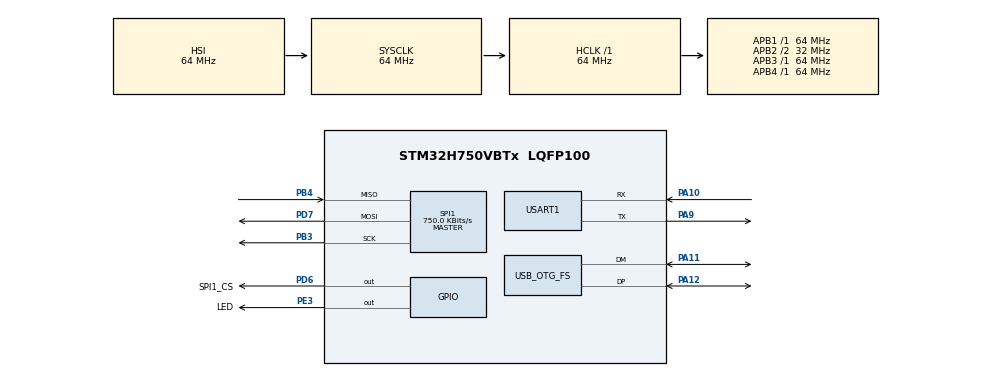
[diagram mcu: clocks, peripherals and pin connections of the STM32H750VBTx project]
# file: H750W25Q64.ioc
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CORTEX_M7.AccessPermission-Cortex_Memory_Protection_Unit_Region0_Settings=MPU_REGION_FULL_ACCESS
CORTEX_M7.BaseAddress-Cortex_Memory_Protection_Unit_Region0_Settings=0x24000000
CORTEX_M7.CPU_DCache=Enabled
CORTEX_M7.CPU_ICache=Enabled
CORTEX_M7.Enable-Cortex_Memory_Protection_Unit_Region0_Settings=MPU_REGION_ENABLE
CORTEX_M7.IsBufferable-Cortex_Memory_Protection_Unit_Region0_Settings=MPU_ACCESS_BUFFERABLE
CORTEX_M7.IsCacheable-Cortex_Memory_Protection_Unit_Region0_Settings=MPU_ACCESS_CACHEABLE
CORTEX_M7.MPU_Control=MPU_PRIVILEGED_DEFAULT
CORTEX_M7.Size-Cortex_Memory_Protection_Unit_Region0_Settings=MPU_REGION_SIZE_512KB
CORTEX_M7.TypeExtField-Cortex_Memory_Protection_Unit_Region0_Settings=MPU_TEX_LEVEL1
Dma.Request0=USART1_RX
Dma.Request1=USART1_TX
Dma.USART1_RX.0.Direction=DMA_PERIPH_TO_MEMORY
Dma.USART1_RX.0.EventEnable=DISABLE
Dma.USART1_RX.0.FIFOMode=DMA_FIFOMODE_DISABLE
Dma.USART1_RX.0.Instance=DMA1_Stream0
Dma.USART1_RX.0.MemDataAlignment=DMA_MDATAALIGN_BYTE
Dma.USART1_RX.0.MemInc=DMA_MINC_ENABLE
Dma.USART1_RX.0.Mode=DMA_NORMAL
Dma.USART1_RX.0.PeriphDataAlignment=DMA_PDATAALIGN_BYTE
Dma.USART1_RX.0.PeriphInc=DMA_PINC_DISABLE
Dma.USART1_RX.0.Polarity=HAL_DMAMUX_REQ_GEN_RISING
Dma.USART1_RX.0.Priority=DMA_PRIORITY_LOW
Dma.USART1_RX.0.RequestNumber=1
Dma.USART1_RX.0.SignalID=NONE
Dma.USART1_RX.0.SyncEnable=DISABLE
Dma.USART1_RX.0.SyncPolarity=HAL_DMAMUX_SYNC_NO_EVENT
Dma.USART1_RX.0.SyncRequestNumber=1
Dma.USART1_RX.0.SyncSignalID=NONE
Dma.USART1_TX.1.Direction=DMA_MEMORY_TO_PERIPH
Dma.USART1_TX.1.EventEnable=DISABLE
Dma.USART1_TX.1.FIFOMode=DMA_FIFOMODE_DISABLE
Dma.USART1_TX.1.Instance=DMA1_Stream1
Dma.USART1_TX.1.MemDataAlignment=DMA_MDATAALIGN_BYTE
Dma.USART1_TX.1.MemInc=DMA_MINC_ENABLE
Dma.USART1_TX.1.Mode=DMA_NORMAL
Dma.USART1_TX.1.PeriphDataAlignment=DMA_PDATAALIGN_BYTE
Dma.USART1_TX.1.PeriphInc=DMA_PINC_DISABLE
Dma.USART1_TX.1.Polarity=HAL_DMAMUX_REQ_GEN_RISING
Dma.USART1_TX.1.Priority=DMA_PRIORITY_LOW
Dma.USART1_TX.1.RequestNumber=1
Dma.USART1_TX.1.SignalID=NONE
Dma.USART1_TX.1.SyncEnable=DISABLE
Dma.USART1_TX.1.SyncPolarity=HAL_DMAMUX_SYNC_NO_EVENT
Dma.USART1_TX.1.SyncRequestNumber=1
Dma.USART1_TX.1.SyncSignalID=NONE
FREERTOS.Tasks01=defaultTask,0,128,StartDefaultTask,Default,NULL,Dynamic,NULL,NULL
Mcu.Family=STM32H7
Mcu.Name=STM32H750VBTx
Mcu.Package=LQFP100
NVIC.DMA1_Stream0_IRQn=true\:5\:0\:false\:false\:true\:true\:false\:true\:true
NVIC.DMA1_Stream1_IRQn=true\:5\:0\:false\:false\:true\:true\:false\:true\:true
NVIC.OTG_FS_IRQn=true\:5\:0\:false\:false\:true\:true\:false\:true\:true
NVIC.PriorityGroup=NVIC_PRIORITYGROUP_4
NVIC.TIM4_IRQn=true\:0\:0\:false\:false\:true\:false\:false\:true\:true
NVIC.TimeBase=TIM4_IRQn
NVIC.TimeBaseIP=TIM4
NVIC.USART1_IRQn=true\:5\:0\:false\:false\:true\:true\:true\:true\:true
PA10.GPIO_Speed=GPIO_SPEED_FREQ_VERY_HIGH
PA10.Mode=Asynchronous
PA10.Signal=USART1_RX
PA11.GPIO_Speed=GPIO_SPEED_FREQ_VERY_HIGH
PA11.Mode=Device_Only
PA11.Signal=USB_OTG_FS_DM
PA12.GPIO_Speed=GPIO_SPEED_FREQ_VERY_HIGH
PA12.Mode=Device_Only
PA12.Signal=USB_OTG_FS_DP
PA13\ (JTMS/SWDIO).Mode=Serial_Wire
PA13\ (JTMS/SWDIO).Signal=DEBUG_JTMS-SWDIO
PA14\ (JTCK/SWCLK).Mode=Serial_Wire
PA14\ (JTCK/SWCLK).Signal=DEBUG_JTCK-SWCLK
PA9.GPIO_Speed=GPIO_SPEED_FREQ_VERY_HIGH
PA9.Mode=Asynchronous
PA9.Signal=USART1_TX
PB3\ (JTDO/TRACESWO).Mode=Full_Duplex_Master
PB3\ (JTDO/TRACESWO).Signal=SPI1_SCK
PB4\ (NJTRST).Mode=Full_Duplex_Master
PB4\ (NJTRST).Signal=SPI1_MISO
PD6.GPIO_Label=SPI1_CS
PD6.GPIO_PuPd=GPIO_PULLDOWN
PD6.Signal=GPIO_Output
PD7.Mode=Full_Duplex_Master
PD7.Signal=SPI1_MOSI
PE3.GPIO_Label=LED
PE3.Signal=GPIO_Output
PH0-OSC_IN\ (PH0).Mode=HSE-External-Oscillator
PH0-OSC_IN\ (PH0).Signal=RCC_OSC_IN
PH1-OSC_OUT\ (PH1).Mode=HSE-External-Oscillator
PH1-OSC_OUT\ (PH1).Signal=RCC_OSC_OUT
ProjectManager.HeapSize=0x200
ProjectManager.StackSize=0x400
ProjectManager.TargetToolchain=MDK-ARM V5.27
RCC.ADCFreq_Value=50390625
RCC.APB1Freq_Value=64000000
RCC.APB2Freq_Value=32000000
RCC.APB3Freq_Value=64000000
RCC.APB4Freq_Value=64000000
RCC.CortexFreq_Value=64000000
RCC.D2PPRE2=RCC_APB2_DIV2
RCC.DIVM1=5
RCC.DIVN1=48
RCC.DIVQ1=5
RCC.HCLKFreq_Value=64000000
RCC.PLLFRACN=0
RCC.SYSCLKFreq_VALUE=64000000
RCC.USBFreq_Value=48000000
SPI1.BaudRatePrescaler=SPI_BAUDRATEPRESCALER_64
SPI1.CalculateBaudRate=750.0 KBits/s
SPI1.DataSize=SPI_DATASIZE_8BIT
SPI1.Direction=SPI_DIRECTION_2LINES
SPI1.Mode=SPI_MODE_MASTER
SPI1.VirtualType=VM_MASTER
USART1.VirtualMode-Asynchronous=VM_ASYNC
USB_DEVICE.CLASS_NAME_FS=CDC
USB_DEVICE.VirtualMode-CDC_FS=Cdc
USB_DEVICE.VirtualModeFS=Cdc_FS
USB_OTG_FS.VirtualMode=Device_Only
VP_FATFS_VS_Generic.Mode=User_defined
VP_FREERTOS_VS_CMSIS_V1.Mode=CMSIS_V1
VP_SYS_VS_tim4.Mode=TIM4
VP_USB_DEVICE_VS_USB_DEVICE_CDC_FS.Mode=CDC_FS
board=custom

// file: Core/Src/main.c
/* USER CODE BEGIN Header */
/**
  ******************************************************************************
  * @file           : main.c
  * @brief          : Main program body
  ******************************************************************************
  * @attention
  *
  * <h2><center>&copy; Copyright (c) 2023 STMicroelectronics.
  * All rights reserved.</center></h2>
  *
  * This software component is licensed by ST under Ultimate Liberty license
  * SLA0044, the "License"; You may not use this file except in compliance with
  * the License. You may obtain a copy of the License at:
  *                             www.st.com/SLA0044
  *
  ******************************************************************************
  */
/* USER CODE END Header */
#include "main.h"
#include "cmsis_os.h"
#include "dma.h"
#include "fatfs.h"
#include "spi.h"
#include "usart.h"
#include "usb_device.h"
#include "gpio.h"

/* USER CODE BEGIN Includes */
#include "usart_cli.h"
/* USER CODE END Includes */

/* USER CODE BEGIN PV */
__attribute__((section(".RW_IRAM2"))) __attribute__((aligned(32)))  uint8_t usart_rx_buffer[RX_BUFFSIZE] = {0};
extern uint8_t rx_flag;
extern uint32_t rx_len;
/* USER CODE END PV */

void SystemClock_Config(void);
static void MPU_Config(void);
void MX_FREERTOS_Init(void);

int main(void)
{

  /* MPU Configuration--------------------------------------------------------*/
  MPU_Config();

  /* Enable I-Cache---------------------------------------------------------*/
  SCB_EnableICache();

  /* Enable D-Cache---------------------------------------------------------*/
  SCB_EnableDCache();

  /* MCU Configuration--------------------------------------------------------*/

  /* Reset of all peripherals, Initializes the Flash interface and the Systick. */
  HAL_Init();

  /* Configure the system clock */
  SystemClock_Config();

  /* Initialize all configured peripherals */
  MX_GPIO_Init();
  MX_DMA_Init();
  MX_FATFS_Init();
  MX_USART1_UART_Init();
  MX_SPI1_Init();
  /* USER CODE BEGIN 2 */
	__HAL_UART_ENABLE_IT(&huart1, UART_IT_IDLE);
	HAL_UART_Receive_DMA(&huart1, usart_rx_buffer, RX_BUFFSIZE);

  /* USER CODE END 2 */

  /* Call init function for freertos objects (in freertos.c) */
  MX_FREERTOS_Init();

  /* Start scheduler */
  osKernelStart();
  /* We should never get here as control is now taken by the scheduler */
  /* Infinite loop */
  while (1)
  {

  }
}

void SystemClock_Config(void)
{
  RCC_OscInitTypeDef RCC_OscInitStruct = {0};
  RCC_ClkInitTypeDef RCC_ClkInitStruct = {0};

  /** Supply configuration update enable
  */
  HAL_PWREx_ConfigSupply(PWR_LDO_SUPPLY);

  /** Configure the main internal regulator output voltage
  */
  __HAL_PWR_VOLTAGESCALING_CONFIG(PWR_REGULATOR_VOLTAGE_SCALE3);

  while(!__HAL_PWR_GET_FLAG(PWR_FLAG_VOSRDY)) {}

  /** Initializes the RCC Oscillators according to the specified parameters
  * in the RCC_OscInitTypeDef structure.
  */
  RCC_OscInitStruct.OscillatorType = RCC_OSCILLATORTYPE_HSI|RCC_OSCILLATORTYPE_HSE;
  RCC_OscInitStruct.HSEState = RCC_HSE_ON;
  RCC_OscInitStruct.HSIState = RCC_HSI_DIV1;
  RCC_OscInitStruct.HSICalibrationValue = RCC_HSICALIBRATION_DEFAULT;
  RCC_OscInitStruct.PLL.PLLState = RCC_PLL_ON;
  RCC_OscInitStruct.PLL.PLLSource = RCC_PLLSOURCE_HSE;
  RCC_OscInitStruct.PLL.PLLM = 5;
  RCC_OscInitStruct.PLL.PLLN = 48;
  RCC_OscInitStruct.PLL.PLLP = 2;
  RCC_OscInitStruct.PLL.PLLQ = 5;
  RCC_OscInitStruct.PLL.PLLR = 2;
  RCC_OscInitStruct.PLL.PLLRGE = RCC_PLL1VCIRANGE_2;
  RCC_OscInitStruct.PLL.PLLVCOSEL = RCC_PLL1VCOWIDE;
  RCC_OscInitStruct.PLL.PLLFRACN = 0;
  if (HAL_RCC_OscConfig(&RCC_OscInitStruct) != HAL_OK)
  {
    Error_Handler();
  }

  /** Initializes the CPU, AHB and APB buses clocks
  */
  RCC_ClkInitStruct.ClockType = RCC_CLOCKTYPE_HCLK|RCC_CLOCKTYPE_SYSCLK
                              |RCC_CLOCKTYPE_PCLK1|RCC_CLOCKTYPE_PCLK2
                              |RCC_CLOCKTYPE_D3PCLK1|RCC_CLOCKTYPE_D1PCLK1;
  RCC_ClkInitStruct.SYSCLKSource = RCC_SYSCLKSOURCE_HSI;
  RCC_ClkInitStruct.SYSCLKDivider = RCC_SYSCLK_DIV1;
  RCC_ClkInitStruct.AHBCLKDivider = RCC_HCLK_DIV1;
  RCC_ClkInitStruct.APB3CLKDivider = RCC_APB3_DIV1;
  RCC_ClkInitStruct.APB1CLKDivider = RCC_APB1_DIV1;
  RCC_ClkInitStruct.APB2CLKDivider = RCC_APB2_DIV2;
  RCC_ClkInitStruct.APB4CLKDivider = RCC_APB4_DIV1;

  if (HAL_RCC_ClockConfig(&RCC_ClkInitStruct, FLASH_LATENCY_1) != HAL_OK)
  {
    Error_Handler();
  }
}

/* MPU Configuration */

void MPU_Config(void)
{
  MPU_Region_InitTypeDef MPU_InitStruct = {0};

  /* Disables the MPU */
  HAL_MPU_Disable();

  /** Initializes and configures the Region and the memory to be protected
  */
  MPU_InitStruct.Enable = MPU_REGION_ENABLE;
  MPU_InitStruct.Number = MPU_REGION_NUMBER0;
  MPU_InitStruct.BaseAddress = 0x24000000;
  MPU_InitStruct.Size = MPU_REGION_SIZE_512KB;
  MPU_InitStruct.SubRegionDisable = 0x0;
  MPU_InitStruct.TypeExtField = MPU_TEX_LEVEL1;
  MPU_InitStruct.AccessPermission = MPU_REGION_FULL_ACCESS;
  MPU_InitStruct.DisableExec = MPU_INSTRUCTION_ACCESS_ENABLE;
  MPU_InitStruct.IsShareable = MPU_ACCESS_NOT_SHAREABLE;
  MPU_InitStruct.IsCacheable = MPU_ACCESS_CACHEABLE;
  MPU_InitStruct.IsBufferable = MPU_ACCESS_BUFFERABLE;

  HAL_MPU_ConfigRegion(&MPU_InitStruct);
  /* Enables the MPU */
  HAL_MPU_Enable(MPU_PRIVILEGED_DEFAULT);

}

void HAL_TIM_PeriodElapsedCallback(TIM_HandleTypeDef *htim)
{
  if (htim->Instance == TIM4) {
    HAL_IncTick();
  }
}

void Error_Handler(void)
{
  __disable_irq();
  while (1)
  {
  }
}

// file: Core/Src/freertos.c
/* USER CODE BEGIN Header */
/**
  ******************************************************************************
  * File Name          : freertos.c
  * Description        : Code for freertos applications
  ******************************************************************************
  * @attention
  *
  * <h2><center>&copy; Copyright (c) 2023 STMicroelectronics.
  * All rights reserved.</center></h2>
  *
  * This software component is licensed by ST under Ultimate Liberty license
  * SLA0044, the "License"; You may not use this file except in compliance with
  * the License. You may obtain a copy of the License at:
  *                             www.st.com/SLA0044
  *
  ******************************************************************************
  */
/* USER CODE END Header */

#include "FreeRTOS.h"
#include "task.h"
#include "main.h"
#include "cmsis_os.h"

/* USER CODE BEGIN Includes */
#include "usb_task.h"
#include "exflash_task.h"
/* USER CODE END Includes */

/* USER CODE BEGIN Variables */
osThreadId usbTaskHandle;
osThreadId exFlashTaskHandle;
/* USER CODE END Variables */
osThreadId defaultTaskHandle;

void StartDefaultTask(void const * argument);

extern void MX_USB_DEVICE_Init(void);
void MX_FREERTOS_Init(void); /* (MISRA C 2004 rule 8.1) */

/* GetIdleTaskMemory prototype (linked to static allocation support) */
void vApplicationGetIdleTaskMemory( StaticTask_t **ppxIdleTaskTCBBuffer, StackType_t **ppxIdleTaskStackBuffer, uint32_t *pulIdleTaskStackSize );

/* USER CODE BEGIN GET_IDLE_TASK_MEMORY */
static StaticTask_t xIdleTaskTCBBuffer;
static StackType_t xIdleStack[configMINIMAL_STACK_SIZE];

void vApplicationGetIdleTaskMemory( StaticTask_t **ppxIdleTaskTCBBuffer, StackType_t **ppxIdleTaskStackBuffer, uint32_t *pulIdleTaskStackSize )
{
  *ppxIdleTaskTCBBuffer = &xIdleTaskTCBBuffer;
  *ppxIdleTaskStackBuffer = &xIdleStack[0];
  *pulIdleTaskStackSize = configMINIMAL_STACK_SIZE;
  /* place for user code */
}
/* USER CODE END GET_IDLE_TASK_MEMORY */

void MX_FREERTOS_Init(void) {

  /* Create the thread(s) */
  /* definition and creation of defaultTask */
  osThreadDef(defaultTask, StartDefaultTask, osPriorityNormal, 0, 128);
  defaultTaskHandle = osThreadCreate(osThread(defaultTask), NULL);

  /* USER CODE BEGIN RTOS_THREADS */
  /* add threads, ... */
  osThreadDef(usbTask, usb_task, osPriorityNormal, 0, 2048);
  usbTaskHandle = osThreadCreate(osThread(usbTask), NULL);

  osThreadDef(exFlashTask, exflash_task, osPriorityNormal, 0, 512);
  exFlashTaskHandle = osThreadCreate(osThread(exFlashTask), NULL);
  /* USER CODE END RTOS_THREADS */

}

void StartDefaultTask(void const * argument)
{
  /* init code for USB_DEVICE */

  /* USER CODE BEGIN StartDefaultTask */
  /* Infinite loop */
  for(;;)
  {
	  //HAL_GPIO_TogglePin(LED_GPIO_Port, LED_Pin);
    osDelay(500);
  }
  /* USER CODE END StartDefaultTask */
}
